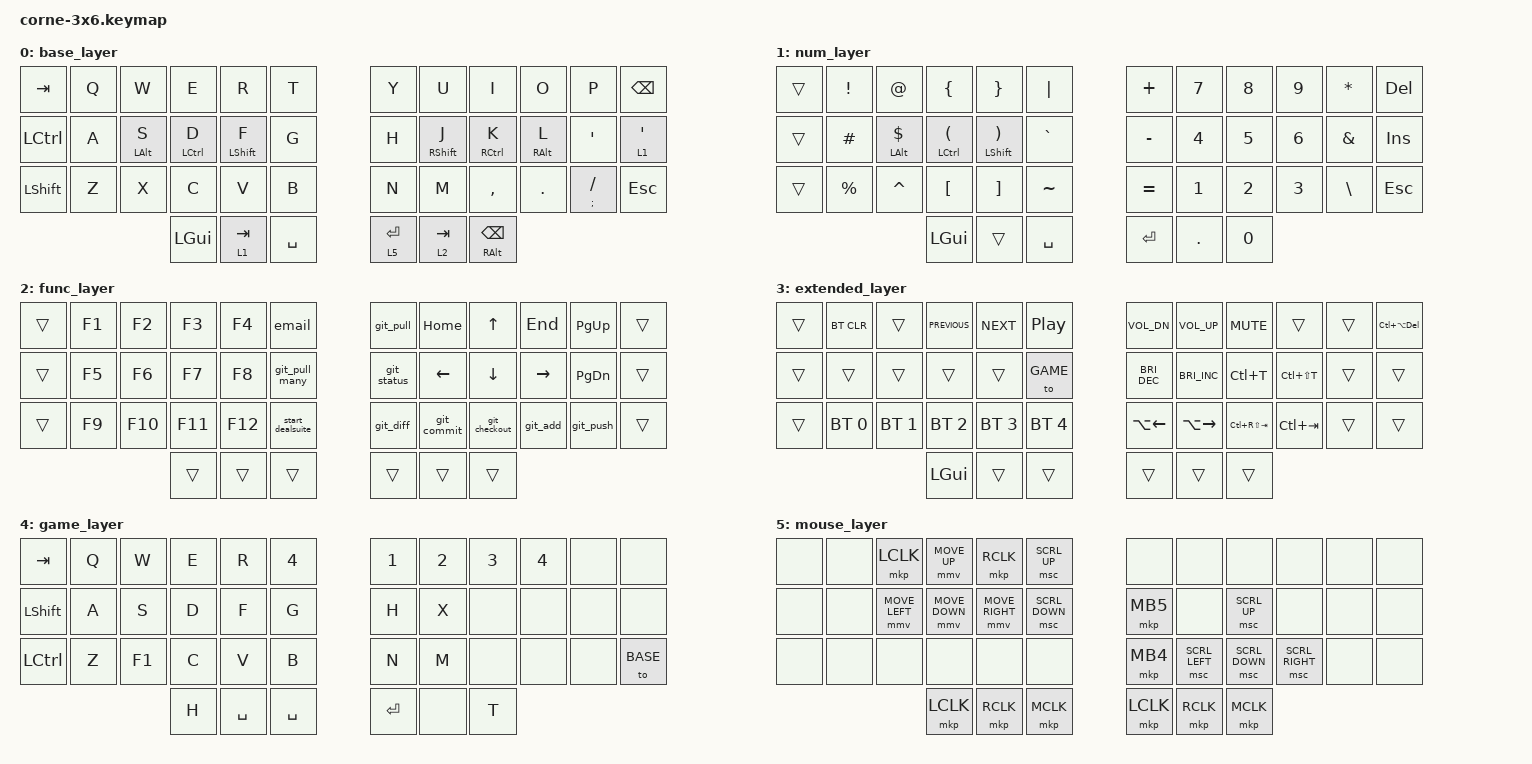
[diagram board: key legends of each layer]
/*
 * Copyright (c) 2020 The ZMK Contributors
 *
 * SPDX-License-Identifier: MIT
 */

#include <behaviors.dtsi>
#include <dt-bindings/zmk/bt.h>
#include <dt-bindings/zmk/keys.h>

#define ZMK_POINTING_DEFAULT_MOVE_VAL 1500  // default: 600
#define ZMK_POINTING_DEFAULT_SCRL_VAL 20    // default: 10

#include <dt-bindings/zmk/pointing.h>

#define BASE  0
#define NUM   1
#define FUNC  2
#define EXT   3
#define GAME  4
#define MOUSE 5

/ {
    behaviors {
        hm: homerow_mods {
            compatible = "zmk,behavior-hold-tap";
            bindings = <&kp>, <&kp>;

            #binding-cells = <2>;
            tapping-term-ms = <200>;
            flavor = "tap-preferred";
            require-prior-idle-ms = <125>;
            quick-tap-ms = <200>;
        };
    };

    combos {
        compatible = "zmk,combos";

        Clear_BLE_Profile {
            bindings = <&bt BT_CLR>;
            key-positions = <0 38 5>;
        };

        space {
            bindings = <&kp SPACE>;
            key-positions = <18 19>;
        };

        enter {
            bindings = <&kp ENTER>;
            key-positions = <17 16>;
        };

        return {
            bindings = <&kp RET>;
            key-positions = <21 22>;
        };

        caps {
            bindings = <&kp CAPS>;
            key-positions = <12 13>;
        };

        escape {
            bindings = <&kp ESC>;
            key-positions = <1 2>;
        };

        underline {
            bindings = <&kp UNDER>;
            key-positions = <8 7>;
        };

        dash {
            bindings = <&kp MINUS>;
            key-positions = <7 6>;
        };

        backslsh {
            bindings = <&kp BSLH>;
            key-positions = <33 34>;
        };

        reload {
            bindings = <&kp LC(R)>;
            key-positions = <4 5>;
        };

        undo {
            bindings = <&kp LC(Z)>;
            key-positions = <26 25>;
        };

        cut {
            bindings = <&kp LC(X)>;
            key-positions = <26 27>;
        };

        copy {
            bindings = <&kp LC(C)>;
            key-positions = <27 28>;
        };

        paste {
            bindings = <&kp LC(V)>;
            key-positions = <28 29>;
        };

        redo {
            bindings = <&kp LC(Y)>;
            key-positions = <24 25>;
        };

        select_all {
            bindings = <&kp LC(A)>;
            key-positions = <13 14>;
        };

        save {
            bindings = <&kp LC(S)>;
            key-positions = <14 15>;
        };

        all_caps {
            bindings = <&kp CAPS>;
            key-positions = <16 19>;
        };

        backspace {
            bindings = <&kp BACKSPACE>;
            key-positions = <9 10>;
        };
    };

    macros {
        email: email {
            compatible = "zmk,behavior-macro";
            #binding-cells = <0>;
            bindings = <&none &kp B &kp R &kp Y &kp A &kp N &kp AT &kp P &kp E &kp C &kp J &kp O &kp DOT &kp C &kp O &kp M>;
            wait-ms = <0>; 
        };

        git_status: git_status {
            compatible = "zmk,behavior-macro";
            #binding-cells = <0>;
            bindings = <&kp G &kp I &kp T &kp SPACE &kp S &kp T &kp A &kp T &kp U &kp S>;
            wait-ms = <0>; 
        };

        git_pull: git_pull {
            compatible = "zmk,behavior-macro";
            #binding-cells = <0>;
            bindings = <&kp G &kp I &kp T &kp SPACE &kp P &kp U &kp L &kp L>;
            wait-ms = <0>; 
        };

        git_pull_many: git_pull_many {
            compatible = "zmk,behavior-macro";
            #binding-cells = <0>;
            bindings = <
                &kp LC(R) &kp G &kp I &kp T &kp SPACE
                &kp MINUS &kp LEFT_SHIFT &kp C
                &kp SPACE &kp LBRC &kp RBRC &kp SPACE
                &kp P &kp U &kp L &kp L &kp SQT
            >;
            wait-ms = <0>; 
        };

        git_push: git_push {
            compatible = "zmk,behavior-macro";
            #binding-cells = <0>;
            bindings = <&kp G &kp I &kp T &kp SPACE &kp P &kp U &kp S &kp H>;
            wait-ms = <0>; 
        };

        git_add: git_add {
            compatible = "zmk,behavior-macro";
            #binding-cells = <0>;
            bindings = <&kp G &kp I &kp T &kp SPACE &kp A &kp D &kp D &kp SPACE &kp DOT>;
            wait-ms = <0>; 
        };

        git_diff: git_diff {
            compatible = "zmk,behavior-macro";
            #binding-cells = <0>;
            bindings = <&kp G &kp I &kp T &kp SPACE &kp D &kp I &kp F &kp F>;
            wait-ms = <0>; 
        };

        git_checkout: git_checkout {
            compatible = "zmk,behavior-macro";
            #binding-cells = <0>;
            bindings = <&kp G &kp I &kp T &kp SPACE &kp C &kp H &kp E &kp C &kp K &kp O &kp U &kp T &kp SPACE>;
            wait-ms = <0>; 
        };

        git_commit: git_commit {
            compatible = "zmk,behavior-macro";
            #binding-cells = <0>;
            bindings = <
                &kp G &kp I &kp T &kp SPACE &kp C &kp O &kp M &kp M &kp I &kp T &kp SPACE 
                &kp MINUS &kp M &kp SPACE &kp DOUBLE_QUOTES &kp DOUBLE_QUOTES &kp LEFT
            >;
            wait-ms = <0>; 
        };

        start_dealsuite: start_dealsuite {
            compatible = "zmk,behavior-macro";
            #binding-cells = <0>;
            bindings = <
                // CTRL+R, 'cele', Return, press 1, Return
                &kp LC(R)
                &macro_wait_time 50
                &kp C &kp E &kp L &kp E 
                &macro_wait_time 1000 
                &kp RET &kp N1 &kp RET

                // New Tab, CTRL+R, 'run d', Return
                &macro_wait_time 2000
                &kp LC(LS(N5))
                &kp LC(R)
                &macro_wait_time 50
                &kp R &kp U &kp N &kp SPACE &kp D &kp RET

                // New Tab, CTRL+R, type 'app.p', Return
                &macro_wait_time 2000
                &kp LC(LS(N5))
                &kp LC(R)
                &macro_wait_time 50
                &kp A &kp P &kp P &kp DOT &kp P &kp RET

                // New Tab, CTRL+R, 'runse', Return
                &macro_wait_time 2000
                &kp LC(LS(N5))
                &kp LC(R)
                &macro_wait_time 50
                &kp R &kp U &kp N &kp S &kp E &kp RET
            >;
        };
    };

    keymap {
        compatible = "zmk,keymap";

        base_layer {
            //╭──────────┬──────────┬──────────┬──────────┬──────────┬──────────╮   ╭──────────┬──────────┬──────────┬──────────┬──────────┬──────────╮
            //│  TAB     |     Q  [esc]  W     │     E    │    R [reload]  T    │   │   Y    [ - ]  U   [ _ ]  I     │   O      │    P     │ BSPC     │
            //├──────────┼──────────┼──────────┼──────────┼──────────┼──────────┤   ├──────────┼──────────┼──────────┼──────────┼──────────┼──────────┤
            //│  CTRL  [CAPS]  A  [all]  S   [save]  D    │    F   [ ↵ ]   G    │   │   H   [space]  J    │    K     │   L    [ ↵ ]  ; :   │ LWR/'    │
            //├──────────┼──────────┼──────────┼──────────┼──────────┼──────────┤   ├──────────┼──────────┼──────────┼──────────┼──────────┼──────────┤
            //│  SHIFT [redo]  Z [undo]  X   [cut]   C  [copy] V  [paste]  B    │   │   N      │    M     │   , <    │  . >   [ \ ]  / ?   │ ESC      │
            //╰──────────┴──────────┴──────────┼──────────┼──────────┼──────────┤   ├──────────┼──────────┼──────────┼──────────┴──────────┴──────────╯
            //                                 │  WIN     │  LWR/↹  │  SPACE   │   │  🖯/⏎    │  RSE/↹  │  ALT/⌫  │
            //                                 ╰──────────┴──────────┴──────────╯   ╰──────────┴──────────┴──────────╯
            bindings = <
&kp TAB    &kp Q  &kp W           &kp E        &kp R            &kp T        &kp Y    &kp U              &kp I               &kp O            &kp P          &kp BSPC
&kp LCTRL  &kp A  &hm LEFT_ALT S  &hm LCTRL D  &hm LEFT_SHIFT F &kp G        &kp H    &hm RIGHT_SHIFT J  &hm RCTRL K         &hm RIGHT_ALT L  &kp SQT        &lt 1 SQT
&kp LSHFT  &kp Z  &kp X           &kp C        &kp V            &kp B        &kp N    &kp M              &kp COMMA           &kp DOT          &hm SEMI FSLH  &kp ESC
                                  &kp LGUI     &lt 1 TAB        &kp SPACE    &lt 5 RET  &lt 2 TAB       &hm RALT BACKSPACE
            >;
        };

        num_layer {
            //╭──────────┬──────────┬──────────┬──────────┬──────────┬──────────╮   ╭──────────┬──────────┬──────────┬──────────┬──────────┬──────────╮
            //|  TAB     |  !       |  @       |  {       |  }       | "|"      |   |  +       |  7       |  8       |  9       |  *       |  Del     |
            //├──────────┼──────────┼──────────┼──────────┼──────────┼──────────┤   ├──────────┼──────────┼──────────┼──────────┼──────────┼──────────┤
            //|  SHIFT   |  #       |  $       |  (       |  )       |  `       |   |  -       |  4       |  5       |  6       |  &       |  Ins     |
            //├──────────┼──────────┼──────────┼──────────┼──────────┼──────────┤   ├──────────┼──────────┼──────────┼──────────┼──────────┼──────────┤
            //|          |  %       |  ^       |  [       |  ]       |  ~       |   |  =       |  1       |  2       |  3       |  \       |  ESC     |
            //╰──────────┴──────────┴──────────┼──────────┼──────────┼──────────┤   ├──────────┼──────────┼──────────┼──────────┴──────────┴──────────╯
            //                                 |  WIN     |          |  SPACE   │   │  ENTER   │  .       |  0       |
            //                                 ╰──────────┴──────────┴──────────╯   ╰──────────┴──────────┴──────────╯
            bindings = <
&trans  &kp EXCL     &kp AT               &kp LBRC        &kp RBRC             &kp PIPE     &kp PLUS   &kp N7   &kp N8  &kp N9  &kp STAR  &kp DEL
&trans  &kp HASH     &hm LEFT_ALT DOLLAR  &hm LCTRL LPAR  &hm LEFT_SHIFT RPAR  &kp GRAVE    &kp MINUS  &kp N4   &kp N5  &kp N6  &kp AMPS  &kp INS
&trans  &kp PERCENT  &kp CARET            &kp LBKT        &kp RBKT             &kp TILDE    &kp EQUAL  &kp N1   &kp N2  &kp N3  &kp BSLH  &kp ESC
                                          &kp LGUI        &trans               &kp SPACE    &kp RET    &kp DOT  &kp N0
            >;
        };

        func_layer {
            //╭──────────┬──────────┬──────────┬──────────┬──────────┬──────────╮   ╭──────────┬──────────┬──────────┬──────────┬──────────┬──────────╮
            //|          |  F1      |  F2      |  F3      |  F4      | email    |   | g.pull   |  HOME    |  ▲       |  END     |  PG_UP   |          |
            //├──────────┼──────────┼──────────┼──────────┼──────────┼──────────┤   ├──────────┼──────────┼──────────┼──────────┼──────────┼──────────┤
            //|          |  F5      |  F6      |  F7      |  F8      | g.pull_m |   | g.status |   ◄      |  ▼       |  ►       |  PG_DN   |          |
            //├──────────┼──────────┼──────────┼──────────┼──────────┼──────────┤   ├──────────┼──────────┼──────────┼──────────┼──────────┼──────────┤
            //|          |  F9      |  F10     |  F11     |  F12     | dealsuit |   | g.diff   | g.commit | g.chkout |  g.add   |  g.push  |          |
            //╰──────────┴──────────┴──────────┼──────────┼──────────┼──────────┤   ├──────────┼──────────┼──────────┼──────────┴──────────┴──────────╯
            //                                 |  WIN     |          |          |   |          |  RSE     |  RALT    |
            //                                 ╰──────────┴──────────┴──────────╯   ╰──────────┴──────────┴──────────╯
            bindings = <
&trans  &kp F1  &kp F2   &kp F3   &kp F4   &email            &git_pull    &kp HOME     &kp UP         &kp END    &kp PG_UP      &trans
&trans  &kp F5  &kp F6   &kp F7   &kp F8   &git_pull_many    &git_status  &kp LEFT     &kp DOWN       &kp RIGHT  &kp PAGE_DOWN  &trans
&trans  &kp F9  &kp F10  &kp F11  &kp F12  &start_dealsuite  &git_diff    &git_commit  &git_checkout  &git_add   &git_push      &trans
                         &trans   &trans   &trans            &trans       &trans       &trans
            >;
        };

        extended_layer {
            //╭──────────┬──────────┬──────────┬──────────┬──────────┬──────────╮   ╭──────────┬──────────┬──────────┬──────────┬──────────┬──────────╮
            //|          | BT CLR   |          |  Prv     |  Nxt     |  ►||     |   |  Vol-    |  Vol+    |  Mute    |          |          |  ^ALT ⌦ |
            //├──────────┼──────────┼──────────┼──────────┼──────────┼──────────┤   ├──────────┼──────────┼──────────┼──────────┼──────────┼──────────┤
            //|          |          |          |          |          |          |   |  Bri-    |  Bri+    |  ^ T     |  ^⇧ T    |          |          |
            //├──────────┼──────────┼──────────┼──────────┼──────────┼──────────┤   ├──────────┼──────────┼──────────┼──────────┼──────────┼──────────┤
            //|          |  BT1     |  BT2     |  BT3     |  BT4     |  BT5     |   |  alt-L   |  alt-R   |  ^ Tab   |  ^⇧ Tab  |          |          |
            //╰──────────┴──────────┴──────────┼──────────┼──────────┼──────────┤   ├──────────┼──────────┼──────────┼──────────┴──────────┴──────────╯
            //                                 |  WIN     |          |          |   |          |          |          |
            //                                 ╰──────────┴──────────┴──────────╯   ╰──────────┴──────────┴──────────╯
            bindings = <
&trans  &bt BT_CLR    &trans        &kp C_PREVIOUS  &kp C_NEXT    &kp C_PLAY_PAUSE    &kp C_VOL_DN          &kp C_VOL_UP          &kp C_MUTE       &trans         &trans  &kp LC(LA(DEL))
&trans  &trans        &trans        &trans          &trans        &to GAME            &kp C_BRIGHTNESS_DEC  &kp C_BRIGHTNESS_INC  &kp LC(T)        &kp LC(LS(T))  &trans  &trans
&trans  &bt BT_SEL 0  &bt BT_SEL 1  &bt BT_SEL 2    &bt BT_SEL 3  &bt BT_SEL 4        &kp LA(LEFT)          &kp LA(RIGHT)         &kp LC(RS(TAB))  &kp LC(TAB)    &trans  &trans
                                    &kp LGUI        &trans        &trans              &trans                &trans                &trans
            >;
        };

        game_layer {
            //╭──────────┬──────────┬──────────┬──────────┬──────────┬──────────╮   ╭──────────┬──────────┬──────────┬──────────┬──────────┬──────────╮
            //|  Inv     |  Tact.A  |  ▲       |  Hands   |  Reload  | Health   |   |  Gun 1   |  Gun 2   |  3       |  4       |          |          |
            //├──────────┼──────────┼──────────┼──────────┼──────────┼──────────┤   ├──────────┼──────────┼──────────┼──────────┼──────────┼──────────┤
            //|  Sprint  |  ◄       |  ▼       |  ►       |  Ping    | Grenade  |   |  H       |  X       |          |          |          |          |
            //├──────────┼──────────┼──────────┼──────────┼──────────┼──────────┤   ├──────────┼──────────┼──────────┼──────────┼──────────┼──────────┤
            //|  Crouch  |  Ulti.A  |  F1      |  Crouch  |  Melee   | FireMode |   | Look Gun |  Map     |          |          |          |  BASE L  |
            //╰──────────┴──────────┴──────────┼──────────┼──────────┼──────────┤   ├──────────┼──────────┼──────────┼──────────┴──────────┴──────────╯
            //                                 |  Health  |  Jump    | Jump     │   │  ENTER   │          |  T       |
            //                                 ╰──────────┴──────────┴──────────╯   ╰──────────┴──────────┴──────────╯
            bindings = <
&kp TAB    &kp Q  &kp W   &kp E  &kp R      &kp N4       &kp N1   &kp N2  &kp N3  &kp N4  &none  &none
&kp LSHFT  &kp A  &kp S   &kp D  &kp F      &kp G        &kp H    &kp X   &none   &none   &none  &none
&kp LCTRL  &kp Z  &kp F1  &kp C  &kp V      &kp B        &kp N    &kp M   &none   &none   &none  &to BASE
                          &kp H  &kp SPACE  &kp SPACE    &kp RET  &none   &kp T
            >;
        };

        mouse_layer {
            //╭──────────┬──────────┬──────────┬──────────┬──────────┬──────────╮   ╭──────────┬──────────┬──────────┬──────────┬──────────┬──────────╮
            //|          |          | L.Click  |  ▲       | R.Click  |  S ▲     |   |          |          |          |          |          |          |
            //├──────────┼──────────┼──────────┼──────────┼──────────┼──────────┤   ├──────────┼──────────┼──────────┼──────────┼──────────┼──────────┤
            //|          |          |  ◄       |  ▼       |  ►       |  S ▼     |   | forward  |          |  S ▲     |          |          |          |
            //├──────────┼──────────┼──────────┼──────────┼──────────┼──────────┤   ├──────────┼──────────┼──────────┼──────────┼──────────┼──────────┤
            //|          |          |          |          |          |          |   |  back    |  S ◄     |  S ▼     |  S ►     |          |          |
            //╰──────────┴──────────┴──────────┼──────────┼──────────┼──────────┤   ├──────────┼──────────┼──────────┼──────────┴──────────┴──────────╯
            //                                 | L.Click  | R.Click  | M.Click  │   │ L.Click  | R.Click  | M.Click  |
            //                                 ╰──────────┴──────────┴──────────╯   ╰──────────┴──────────┴──────────╯
            bindings = <
&none  &none  &mkp LCLK      &mmv MOVE_UP   &mkp RCLK       &msc SCRL_UP      &none      &none          &none          &none           &none  &none
&none  &none  &mmv MOVE_LEFT &mmv MOVE_DOWN &mmv MOVE_RIGHT &msc SCRL_DOWN    &mkp MB5   &none          &msc SCRL_UP   &none           &none  &none
&none  &none  &none          &none          &none           &none             &mkp MB4   &msc SCRL_LEFT &msc SCRL_DOWN &msc SCRL_RIGHT &none  &none
                             &mkp LCLK      &mkp RCLK       &mkp MCLK         &mkp LCLK  &mkp RCLK &mkp MCLK
            >;
        };
    };

    conditional_layers {
        compatible = "zmk,conditional-layers";

        Activate_EXT {
            if-layers = <1 2>;
            then-layer = <3>;
        };
    };
};
